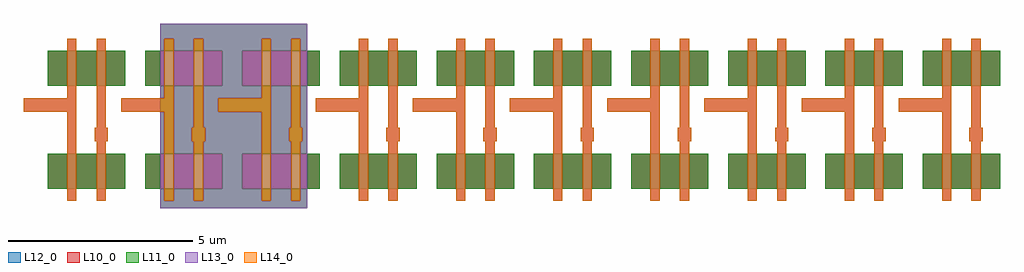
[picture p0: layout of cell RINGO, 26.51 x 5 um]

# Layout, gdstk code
import gdstk
lib = gdstk.Library(unit=1e-6, precision=1e-09)
def R(c, l, rs):  # rectangles x0, y0, x1, y1
    for r in rs: c.add(gdstk.rectangle(r[:2], r[2:], *l))
def A(c, l, x, y, w, h, nx, ny, dx, dy):  # array of equal rectangles
    R(c, l, [(x+i*dx, y+j*dy, x+i*dx+w, y+j*dy+h) for i in range(nx) for j in range(ny)])
def P(c, l, *ps):  # polygons
    for p in ps: c.add(gdstk.Polygon(p, *l))
L10_0 = (10, 0)
L11_0 = (11, 0)
L12_0 = (12, 0)
L13_0 = (13, 0)
L14_0 = (14, 0)

ringo = lib.new_cell('RINGO')
P(ringo, L10_0, [(-0.525,-0.8),(-0.525,-0.475),(-1.05,-0.475),(-1.05,0.475),(-0.525,0.475),(-0.525,-0.475),(-0.275,-0.475),(-0.275,0.475),(-0.525,0.475),(-0.525,1.62),(-1.7,1.62),(-1.7,1.98),(-0.525,1.98),(-0.525,2.325),(-1.05,2.325),(-1.05,3.275),(-0.525,3.275),(-0.525,2.325),(-0.275,2.325),(-0.275,0.475),(0.275,0.475),(0.275,-0.475),(0.525,-0.475),(0.525,0.475),(0.275,0.475),(0.275,0.82),(0.22,0.82),(0.22,1.18),(0.275,1.18),(0.275,2.325),(-0.275,2.325),(-0.275,3.275),(-0.525,3.275),(-0.525,3.6),(-0.275,3.6),(-0.275,3.275),(0.275,3.275),(0.275,2.325),(0.525,2.325),(0.525,3.275),(0.275,3.275),(0.275,3.6),(0.525,3.6),(0.525,3.275),(1.05,3.275),(1.05,2.325),(0.525,2.325),(0.525,1.18),(0.58,1.18),(0.58,0.82),(0.525,0.82),(0.525,0.475),(1.05,0.475),(1.05,-0.475),(0.525,-0.475),(0.525,-0.8),(0.275,-0.8),(0.275,-0.475),(-0.275,-0.475),(-0.275,-0.8)],
  [(2.115,-0.8),(2.115,-0.475),(1.59,-0.475),(1.59,0.475),(2.115,0.475),(2.115,-0.475),(2.365,-0.475),(2.365,0.475),(2.115,0.475),(2.115,1.62),(0.94,1.62),(0.94,1.98),(2.115,1.98),(2.115,2.325),(1.59,2.325),(1.59,3.275),(2.115,3.275),(2.115,2.325),(2.365,2.325),(2.365,0.475),(2.915,0.475),(2.915,-0.475),(3.165,-0.475),(3.165,0.475),(2.915,0.475),(2.915,0.82),(2.86,0.82),(2.86,1.18),(2.915,1.18),(2.915,2.325),(2.365,2.325),(2.365,3.275),(2.115,3.275),(2.115,3.6),(2.365,3.6),(2.365,3.275),(2.915,3.275),(2.915,2.325),(3.165,2.325),(3.165,3.275),(2.915,3.275),(2.915,3.6),(3.165,3.6),(3.165,3.275),(3.69,3.275),(3.69,2.325),(3.165,2.325),(3.165,1.18),(3.22,1.18),(3.22,0.82),(3.165,0.82),(3.165,0.475),(3.69,0.475),(3.69,-0.475),(3.165,-0.475),(3.165,-0.8),(2.915,-0.8),(2.915,-0.475),(2.365,-0.475),(2.365,-0.8)],
  [(4.755,-0.8),(4.755,-0.475),(4.23,-0.475),(4.23,0.475),(4.755,0.475),(4.755,-0.475),(5.005,-0.475),(5.005,0.475),(4.755,0.475),(4.755,1.62),(3.58,1.62),(3.58,1.98),(4.755,1.98),(4.755,2.325),(4.23,2.325),(4.23,3.275),(4.755,3.275),(4.755,2.325),(5.005,2.325),(5.005,0.475),(5.555,0.475),(5.555,-0.475),(5.805,-0.475),(5.805,0.475),(5.555,0.475),(5.555,0.82),(5.5,0.82),(5.5,1.18),(5.555,1.18),(5.555,2.325),(5.005,2.325),(5.005,3.275),(4.755,3.275),(4.755,3.6),(5.005,3.6),(5.005,3.275),(5.555,3.275),(5.555,2.325),(5.805,2.325),(5.805,3.275),(5.555,3.275),(5.555,3.6),(5.805,3.6),(5.805,3.275),(6.33,3.275),(6.33,2.325),(5.805,2.325),(5.805,1.18),(5.86,1.18),(5.86,0.82),(5.805,0.82),(5.805,0.475),(6.33,0.475),(6.33,-0.475),(5.805,-0.475),(5.805,-0.8),(5.555,-0.8),(5.555,-0.475),(5.005,-0.475),(5.005,-0.8)],
  [(7.395,-0.8),(7.395,-0.475),(6.87,-0.475),(6.87,0.475),(7.395,0.475),(7.395,-0.475),(7.645,-0.475),(7.645,0.475),(7.395,0.475),(7.395,1.62),(6.22,1.62),(6.22,1.98),(7.395,1.98),(7.395,2.325),(6.87,2.325),(6.87,3.275),(7.395,3.275),(7.395,2.325),(7.645,2.325),(7.645,0.475),(8.195,0.475),(8.195,-0.475),(8.445,-0.475),(8.445,0.475),(8.195,0.475),(8.195,0.82),(8.14,0.82),(8.14,1.18),(8.195,1.18),(8.195,2.325),(7.645,2.325),(7.645,3.275),(7.395,3.275),(7.395,3.6),(7.645,3.6),(7.645,3.275),(8.195,3.275),(8.195,2.325),(8.445,2.325),(8.445,3.275),(8.195,3.275),(8.195,3.6),(8.445,3.6),(8.445,3.275),(8.97,3.275),(8.97,2.325),(8.445,2.325),(8.445,1.18),(8.5,1.18),(8.5,0.82),(8.445,0.82),(8.445,0.475),(8.97,0.475),(8.97,-0.475),(8.445,-0.475),(8.445,-0.8),(8.195,-0.8),(8.195,-0.475),(7.645,-0.475),(7.645,-0.8)],
  [(10.035,-0.8),(10.035,-0.475),(9.51,-0.475),(9.51,0.475),(10.035,0.475),(10.035,-0.475),(10.285,-0.475),(10.285,0.475),(10.035,0.475),(10.035,1.62),(8.86,1.62),(8.86,1.98),(10.035,1.98),(10.035,2.325),(9.51,2.325),(9.51,3.275),(10.035,3.275),(10.035,2.325),(10.285,2.325),(10.285,0.475),(10.835,0.475),(10.835,-0.475),(11.085,-0.475),(11.085,0.475),(10.835,0.475),(10.835,0.82),(10.78,0.82),(10.78,1.18),(10.835,1.18),(10.835,2.325),(10.285,2.325),(10.285,3.275),(10.035,3.275),(10.035,3.6),(10.285,3.6),(10.285,3.275),(10.835,3.275),(10.835,2.325),(11.085,2.325),(11.085,3.275),(10.835,3.275),(10.835,3.6),(11.085,3.6),(11.085,3.275),(11.61,3.275),(11.61,2.325),(11.085,2.325),(11.085,1.18),(11.14,1.18),(11.14,0.82),(11.085,0.82),(11.085,0.475),(11.61,0.475),(11.61,-0.475),(11.085,-0.475),(11.085,-0.8),(10.835,-0.8),(10.835,-0.475),(10.285,-0.475),(10.285,-0.8)],
  [(12.675,-0.8),(12.675,-0.475),(12.15,-0.475),(12.15,0.475),(12.675,0.475),(12.675,-0.475),(12.925,-0.475),(12.925,0.475),(12.675,0.475),(12.675,1.62),(11.5,1.62),(11.5,1.98),(12.675,1.98),(12.675,2.325),(12.15,2.325),(12.15,3.275),(12.675,3.275),(12.675,2.325),(12.925,2.325),(12.925,0.475),(13.475,0.475),(13.475,-0.475),(13.725,-0.475),(13.725,0.475),(13.475,0.475),(13.475,0.82),(13.42,0.82),(13.42,1.18),(13.475,1.18),(13.475,2.325),(12.925,2.325),(12.925,3.275),(12.675,3.275),(12.675,3.6),(12.925,3.6),(12.925,3.275),(13.475,3.275),(13.475,2.325),(13.725,2.325),(13.725,3.275),(13.475,3.275),(13.475,3.6),(13.725,3.6),(13.725,3.275),(14.25,3.275),(14.25,2.325),(13.725,2.325),(13.725,1.18),(13.78,1.18),(13.78,0.82),(13.725,0.82),(13.725,0.475),(14.25,0.475),(14.25,-0.475),(13.725,-0.475),(13.725,-0.8),(13.475,-0.8),(13.475,-0.475),(12.925,-0.475),(12.925,-0.8)],
  [(15.315,-0.8),(15.315,-0.475),(14.79,-0.475),(14.79,0.475),(15.315,0.475),(15.315,-0.475),(15.565,-0.475),(15.565,0.475),(15.315,0.475),(15.315,1.62),(14.14,1.62),(14.14,1.98),(15.315,1.98),(15.315,2.325),(14.79,2.325),(14.79,3.275),(15.315,3.275),(15.315,2.325),(15.565,2.325),(15.565,0.475),(16.115,0.475),(16.115,-0.475),(16.365,-0.475),(16.365,0.475),(16.115,0.475),(16.115,0.82),(16.06,0.82),(16.06,1.18),(16.115,1.18),(16.115,2.325),(15.565,2.325),(15.565,3.275),(15.315,3.275),(15.315,3.6),(15.565,3.6),(15.565,3.275),(16.115,3.275),(16.115,2.325),(16.365,2.325),(16.365,3.275),(16.115,3.275),(16.115,3.6),(16.365,3.6),(16.365,3.275),(16.89,3.275),(16.89,2.325),(16.365,2.325),(16.365,1.18),(16.42,1.18),(16.42,0.82),(16.365,0.82),(16.365,0.475),(16.89,0.475),(16.89,-0.475),(16.365,-0.475),(16.365,-0.8),(16.115,-0.8),(16.115,-0.475),(15.565,-0.475),(15.565,-0.8)],
  [(17.955,-0.8),(17.955,-0.475),(17.43,-0.475),(17.43,0.475),(17.955,0.475),(17.955,-0.475),(18.205,-0.475),(18.205,0.475),(17.955,0.475),(17.955,1.62),(16.78,1.62),(16.78,1.98),(17.955,1.98),(17.955,2.325),(17.43,2.325),(17.43,3.275),(17.955,3.275),(17.955,2.325),(18.205,2.325),(18.205,0.475),(18.755,0.475),(18.755,-0.475),(19.005,-0.475),(19.005,0.475),(18.755,0.475),(18.755,0.82),(18.7,0.82),(18.7,1.18),(18.755,1.18),(18.755,2.325),(18.205,2.325),(18.205,3.275),(17.955,3.275),(17.955,3.6),(18.205,3.6),(18.205,3.275),(18.755,3.275),(18.755,2.325),(19.005,2.325),(19.005,3.275),(18.755,3.275),(18.755,3.6),(19.005,3.6),(19.005,3.275),(19.53,3.275),(19.53,2.325),(19.005,2.325),(19.005,1.18),(19.06,1.18),(19.06,0.82),(19.005,0.82),(19.005,0.475),(19.53,0.475),(19.53,-0.475),(19.005,-0.475),(19.005,-0.8),(18.755,-0.8),(18.755,-0.475),(18.205,-0.475),(18.205,-0.8)],
  [(20.595,-0.8),(20.595,-0.475),(20.07,-0.475),(20.07,0.475),(20.595,0.475),(20.595,-0.475),(20.845,-0.475),(20.845,0.475),(20.595,0.475),(20.595,1.62),(19.42,1.62),(19.42,1.98),(20.595,1.98),(20.595,2.325),(20.07,2.325),(20.07,3.275),(20.595,3.275),(20.595,2.325),(20.845,2.325),(20.845,0.475),(21.395,0.475),(21.395,-0.475),(21.645,-0.475),(21.645,0.475),(21.395,0.475),(21.395,0.82),(21.34,0.82),(21.34,1.18),(21.395,1.18),(21.395,2.325),(20.845,2.325),(20.845,3.275),(20.595,3.275),(20.595,3.6),(20.845,3.6),(20.845,3.275),(21.395,3.275),(21.395,2.325),(21.645,2.325),(21.645,3.275),(21.395,3.275),(21.395,3.6),(21.645,3.6),(21.645,3.275),(22.17,3.275),(22.17,2.325),(21.645,2.325),(21.645,1.18),(21.7,1.18),(21.7,0.82),(21.645,0.82),(21.645,0.475),(22.17,0.475),(22.17,-0.475),(21.645,-0.475),(21.645,-0.8),(21.395,-0.8),(21.395,-0.475),(20.845,-0.475),(20.845,-0.8)],
  [(23.235,-0.8),(23.235,-0.475),(22.71,-0.475),(22.71,0.475),(23.235,0.475),(23.235,-0.475),(23.485,-0.475),(23.485,0.475),(23.235,0.475),(23.235,1.62),(22.06,1.62),(22.06,1.98),(23.235,1.98),(23.235,2.325),(22.71,2.325),(22.71,3.275),(23.235,3.275),(23.235,2.325),(23.485,2.325),(23.485,0.475),(24.035,0.475),(24.035,-0.475),(24.285,-0.475),(24.285,0.475),(24.035,0.475),(24.035,0.82),(23.98,0.82),(23.98,1.18),(24.035,1.18),(24.035,2.325),(23.485,2.325),(23.485,3.275),(23.235,3.275),(23.235,3.6),(23.485,3.6),(23.485,3.275),(24.035,3.275),(24.035,2.325),(24.285,2.325),(24.285,3.275),(24.035,3.275),(24.035,3.6),(24.285,3.6),(24.285,3.275),(24.81,3.275),(24.81,2.325),(24.285,2.325),(24.285,1.18),(24.34,1.18),(24.34,0.82),(24.285,0.82),(24.285,0.475),(24.81,0.475),(24.81,-0.475),(24.285,-0.475),(24.285,-0.8),(24.035,-0.8),(24.035,-0.475),(23.485,-0.475),(23.485,-0.8)])
A(ringo, L11_0, 6.87, -0.475, 2.1, 0.95, 7, 2, 2.64, 2.8)
R(ringo, L11_0, [(-1.05,-0.475,1.05,0.475), (-1.05,2.325,1.05,3.275)])
P(ringo, L11_0, [(2,-1),(2,-0.475),(1.59,-0.475),(1.59,0.475),(2,0.475),(2,-0.475),(3.69,-0.475),(3.69,0.475),(4.23,0.475),(4.23,-0.475),(6,-0.475),(6,0.475),(2,0.475),(2,2.325),(1.59,2.325),(1.59,3.275),(2,3.275),(2,2.325),(3.69,2.325),(3.69,3.275),(4.23,3.275),(4.23,2.325),(6,2.325),(6,3.275),(2,3.275),(2,4),(6,4),(6,3.275),(6.33,3.275),(6.33,2.325),(6,2.325),(6,0.475),(6.33,0.475),(6.33,-0.475),(6,-0.475),(6,-1)])
R(ringo, L12_0, [(-1.05,-0.475,0.25,0.475), (-0.25,-0.475,1.05,0.475), (1.59,-0.475,2.89,0.475), (2.39,-0.475,3.69,0.475), (4.23,-0.475,5.53,0.475), (5.03,-0.475,6.33,0.475), (6.87,-0.475,8.17,0.475), (7.67,-0.475,8.97,0.475), (9.51,-0.475,10.81,0.475), (10.31,-0.475,11.61,0.475), (12.15,-0.475,13.45,0.475), (12.95,-0.475,14.25,0.475), (14.79,-0.475,16.09,0.475), (15.59,-0.475,16.89,0.475), (17.43,-0.475,18.73,0.475), (18.23,-0.475,19.53,0.475), (20.07,-0.475,21.37,0.475), (20.87,-0.475,22.17,0.475), (22.71,-0.475,24.01,0.475), (23.51,-0.475,24.81,0.475), (-1.05,2.325,0.25,3.275), (-0.25,2.325,1.05,3.275), (1.59,2.325,2.89,3.275), (2.39,2.325,3.69,3.275), (4.23,2.325,5.53,3.275), (5.03,2.325,6.33,3.275), (6.87,2.325,8.17,3.275), (7.67,2.325,8.97,3.275), (9.51,2.325,10.81,3.275), (10.31,2.325,11.61,3.275), (12.15,2.325,13.45,3.275), (12.95,2.325,14.25,3.275), (14.79,2.325,16.09,3.275), (15.59,2.325,16.89,3.275), (17.43,2.325,18.73,3.275), (18.23,2.325,19.53,3.275), (20.07,2.325,21.37,3.275), (20.87,2.325,22.17,3.275), (22.71,2.325,24.01,3.275), (23.51,2.325,24.81,3.275)])
P(ringo, L13_0, [(-0.525,-0.8),(-0.525,1.62),(-1.7,1.62),(-1.7,1.98),(-0.525,1.98),(-0.525,3.6),(-0.275,3.6),(-0.275,-0.8)],
  [(0.275,-0.8),(0.275,0.82),(0.22,0.82),(0.22,1.18),(0.275,1.18),(0.275,3.6),(0.525,3.6),(0.525,1.18),(0.58,1.18),(0.58,0.82),(0.525,0.82),(0.525,-0.8)],
  [(7.395,-0.8),(7.395,1.62),(6.22,1.62),(6.22,1.98),(7.395,1.98),(7.395,3.6),(7.645,3.6),(7.645,-0.8)],
  [(8.195,-0.8),(8.195,0.82),(8.14,0.82),(8.14,1.18),(8.195,1.18),(8.195,3.6),(8.445,3.6),(8.445,1.18),(8.5,1.18),(8.5,0.82),(8.445,0.82),(8.445,-0.8)],
  [(10.035,-0.8),(10.035,1.62),(8.86,1.62),(8.86,1.98),(10.035,1.98),(10.035,3.6),(10.285,3.6),(10.285,-0.8)],
  [(10.835,-0.8),(10.835,0.82),(10.78,0.82),(10.78,1.18),(10.835,1.18),(10.835,3.6),(11.085,3.6),(11.085,1.18),(11.14,1.18),(11.14,0.82),(11.085,0.82),(11.085,-0.8)],
  [(12.675,-0.8),(12.675,1.62),(11.5,1.62),(11.5,1.98),(12.675,1.98),(12.675,3.6),(12.925,3.6),(12.925,-0.8)],
  [(13.475,-0.8),(13.475,0.82),(13.42,0.82),(13.42,1.18),(13.475,1.18),(13.475,3.6),(13.725,3.6),(13.725,1.18),(13.78,1.18),(13.78,0.82),(13.725,0.82),(13.725,-0.8)],
  [(15.315,-0.8),(15.315,1.62),(14.14,1.62),(14.14,1.98),(15.315,1.98),(15.315,3.6),(15.565,3.6),(15.565,-0.8)],
  [(16.115,-0.8),(16.115,0.82),(16.06,0.82),(16.06,1.18),(16.115,1.18),(16.115,3.6),(16.365,3.6),(16.365,1.18),(16.42,1.18),(16.42,0.82),(16.365,0.82),(16.365,-0.8)],
  [(17.955,-0.8),(17.955,1.62),(16.78,1.62),(16.78,1.98),(17.955,1.98),(17.955,3.6),(18.205,3.6),(18.205,-0.8)],
  [(18.755,-0.8),(18.755,0.82),(18.7,0.82),(18.7,1.18),(18.755,1.18),(18.755,3.6),(19.005,3.6),(19.005,1.18),(19.06,1.18),(19.06,0.82),(19.005,0.82),(19.005,-0.8)],
  [(20.595,-0.8),(20.595,1.62),(19.42,1.62),(19.42,1.98),(20.595,1.98),(20.595,3.6),(20.845,3.6),(20.845,-0.8)],
  [(21.395,-0.8),(21.395,0.82),(21.34,0.82),(21.34,1.18),(21.395,1.18),(21.395,3.6),(21.645,3.6),(21.645,1.18),(21.7,1.18),(21.7,0.82),(21.645,0.82),(21.645,-0.8)],
  [(23.235,-0.8),(23.235,1.62),(22.06,1.62),(22.06,1.98),(23.235,1.98),(23.235,3.6),(23.485,3.6),(23.485,-0.8)],
  [(24.035,-0.8),(24.035,0.82),(23.98,0.82),(23.98,1.18),(24.035,1.18),(24.035,3.6),(24.285,3.6),(24.285,1.18),(24.34,1.18),(24.34,0.82),(24.285,0.82),(24.285,-0.8)],
  [(2,-1),(2,1.62),(0.94,1.62),(0.94,1.98),(2,1.98),(2,3.6),(2.115,3.6),(2.115,1.98),(2,1.98),(2,1.62),(2.115,1.62),(2.115,-0.8),(2.365,-0.8),(2.365,3.6),(2.915,3.6),(2.915,1.18),(2.86,1.18),(2.86,0.82),(2.915,0.82),(2.915,-0.8),(3.165,-0.8),(3.165,0.82),(3.22,0.82),(3.22,1.18),(3.165,1.18),(3.165,3.6),(4.755,3.6),(4.755,1.98),(3.58,1.98),(3.58,1.62),(4.755,1.62),(4.755,-0.8),(5.005,-0.8),(5.005,3.6),(5.555,3.6),(5.555,1.18),(5.5,1.18),(5.5,0.82),(5.555,0.82),(5.555,-0.8),(5.805,-0.8),(5.805,0.82),(5.86,0.82),(5.86,1.18),(5.805,1.18),(5.805,3.6),(2,3.6),(2,4),(6,4),(6,-1)])
A(ringo, L14_0, 0.22, 0.82, 0.36, 0.36, 10, 1, 2.64, 0)
A(ringo, L14_0, -1.7, 1.62, 1.3, 0.36, 10, 1, 2.64, 0)
R(ringo, L14_0, [(-0.525,-0.25,-0.275,2.25), (0.275,-0.25,0.525,2.25), (2.115,-0.25,2.365,2.25), (2.915,-0.25,3.165,2.25), (4.755,-0.25,5.005,2.25), (5.555,-0.25,5.805,2.25), (7.395,-0.25,7.645,2.25), (8.195,-0.25,8.445,2.25), (10.035,-0.25,10.285,2.25), (10.835,-0.25,11.085,2.25), (12.675,-0.25,12.925,2.25), (13.475,-0.25,13.725,2.25), (15.315,-0.25,15.565,2.25), (16.115,-0.25,16.365,2.25), (17.955,-0.25,18.205,2.25), (18.755,-0.25,19.005,2.25), (20.595,-0.25,20.845,2.25), (21.395,-0.25,21.645,2.25), (23.235,-0.25,23.485,2.25), (24.035,-0.25,24.285,2.25)])
ringo.add(gdstk.FlexPath([(-0.4,-0.8),(-0.4,0.8)], 0.25, ends="flush", simple_path=True, layer=14, datatype=0))  # L14_0
ringo.add(gdstk.FlexPath([(-0.4,2),(-0.4,3.6)], 0.25, ends="flush", simple_path=True, layer=14, datatype=0))  # L14_0
ringo.add(gdstk.FlexPath([(0.4,0.8),(0.4,-0.8)], 0.25, ends="flush", simple_path=True, layer=14, datatype=0))  # L14_0
ringo.add(gdstk.FlexPath([(0.4,3.6),(0.4,2)], 0.25, ends="flush", simple_path=True, layer=14, datatype=0))  # L14_0
ringo.add(gdstk.FlexPath([(2.24,-0.8),(2.24,0.8)], 0.25, ends="flush", simple_path=True, layer=14, datatype=0))  # L14_0
ringo.add(gdstk.FlexPath([(2.24,2),(2.24,3.6)], 0.25, ends="flush", simple_path=True, layer=14, datatype=0))  # L14_0
ringo.add(gdstk.FlexPath([(3.04,0.8),(3.04,-0.8)], 0.25, ends="flush", simple_path=True, layer=14, datatype=0))  # L14_0
ringo.add(gdstk.FlexPath([(3.04,3.6),(3.04,2)], 0.25, ends="flush", simple_path=True, layer=14, datatype=0))  # L14_0
ringo.add(gdstk.FlexPath([(4.88,-0.8),(4.88,0.8)], 0.25, ends="flush", simple_path=True, layer=14, datatype=0))  # L14_0
ringo.add(gdstk.FlexPath([(4.88,2),(4.88,3.6)], 0.25, ends="flush", simple_path=True, layer=14, datatype=0))  # L14_0
ringo.add(gdstk.FlexPath([(5.68,0.8),(5.68,-0.8)], 0.25, ends="flush", simple_path=True, layer=14, datatype=0))  # L14_0
ringo.add(gdstk.FlexPath([(5.68,3.6),(5.68,2)], 0.25, ends="flush", simple_path=True, layer=14, datatype=0))  # L14_0
ringo.add(gdstk.FlexPath([(7.52,-0.8),(7.52,0.8)], 0.25, ends="flush", simple_path=True, layer=14, datatype=0))  # L14_0
ringo.add(gdstk.FlexPath([(7.52,2),(7.52,3.6)], 0.25, ends="flush", simple_path=True, layer=14, datatype=0))  # L14_0
ringo.add(gdstk.FlexPath([(8.32,0.8),(8.32,-0.8)], 0.25, ends="flush", simple_path=True, layer=14, datatype=0))  # L14_0
ringo.add(gdstk.FlexPath([(8.32,3.6),(8.32,2)], 0.25, ends="flush", simple_path=True, layer=14, datatype=0))  # L14_0
ringo.add(gdstk.FlexPath([(10.16,-0.8),(10.16,0.8)], 0.25, ends="flush", simple_path=True, layer=14, datatype=0))  # L14_0
ringo.add(gdstk.FlexPath([(10.16,2),(10.16,3.6)], 0.25, ends="flush", simple_path=True, layer=14, datatype=0))  # L14_0
ringo.add(gdstk.FlexPath([(10.96,0.8),(10.96,-0.8)], 0.25, ends="flush", simple_path=True, layer=14, datatype=0))  # L14_0
ringo.add(gdstk.FlexPath([(10.96,3.6),(10.96,2)], 0.25, ends="flush", simple_path=True, layer=14, datatype=0))  # L14_0
ringo.add(gdstk.FlexPath([(12.8,-0.8),(12.8,0.8)], 0.25, ends="flush", simple_path=True, layer=14, datatype=0))  # L14_0
ringo.add(gdstk.FlexPath([(12.8,2),(12.8,3.6)], 0.25, ends="flush", simple_path=True, layer=14, datatype=0))  # L14_0
ringo.add(gdstk.FlexPath([(13.6,0.8),(13.6,-0.8)], 0.25, ends="flush", simple_path=True, layer=14, datatype=0))  # L14_0
ringo.add(gdstk.FlexPath([(13.6,3.6),(13.6,2)], 0.25, ends="flush", simple_path=True, layer=14, datatype=0))  # L14_0
ringo.add(gdstk.FlexPath([(15.44,-0.8),(15.44,0.8)], 0.25, ends="flush", simple_path=True, layer=14, datatype=0))  # L14_0
ringo.add(gdstk.FlexPath([(15.44,2),(15.44,3.6)], 0.25, ends="flush", simple_path=True, layer=14, datatype=0))  # L14_0
ringo.add(gdstk.FlexPath([(16.24,0.8),(16.24,-0.8)], 0.25, ends="flush", simple_path=True, layer=14, datatype=0))  # L14_0
ringo.add(gdstk.FlexPath([(16.24,3.6),(16.24,2)], 0.25, ends="flush", simple_path=True, layer=14, datatype=0))  # L14_0
ringo.add(gdstk.FlexPath([(18.08,-0.8),(18.08,0.8)], 0.25, ends="flush", simple_path=True, layer=14, datatype=0))  # L14_0
ringo.add(gdstk.FlexPath([(18.08,2),(18.08,3.6)], 0.25, ends="flush", simple_path=True, layer=14, datatype=0))  # L14_0
ringo.add(gdstk.FlexPath([(18.88,0.8),(18.88,-0.8)], 0.25, ends="flush", simple_path=True, layer=14, datatype=0))  # L14_0
ringo.add(gdstk.FlexPath([(18.88,3.6),(18.88,2)], 0.25, ends="flush", simple_path=True, layer=14, datatype=0))  # L14_0
ringo.add(gdstk.FlexPath([(20.72,-0.8),(20.72,0.8)], 0.25, ends="flush", simple_path=True, layer=14, datatype=0))  # L14_0
ringo.add(gdstk.FlexPath([(20.72,2),(20.72,3.6)], 0.25, ends="flush", simple_path=True, layer=14, datatype=0))  # L14_0
ringo.add(gdstk.FlexPath([(21.52,0.8),(21.52,-0.8)], 0.25, ends="flush", simple_path=True, layer=14, datatype=0))  # L14_0
ringo.add(gdstk.FlexPath([(21.52,3.6),(21.52,2)], 0.25, ends="flush", simple_path=True, layer=14, datatype=0))  # L14_0
ringo.add(gdstk.FlexPath([(23.36,-0.8),(23.36,0.8)], 0.25, ends="flush", simple_path=True, layer=14, datatype=0))  # L14_0
ringo.add(gdstk.FlexPath([(23.36,2),(23.36,3.6)], 0.25, ends="flush", simple_path=True, layer=14, datatype=0))  # L14_0
ringo.add(gdstk.FlexPath([(24.16,0.8),(24.16,-0.8)], 0.25, ends="flush", simple_path=True, layer=14, datatype=0))  # L14_0
ringo.add(gdstk.FlexPath([(24.16,3.6),(24.16,2)], 0.25, ends="flush", simple_path=True, layer=14, datatype=0))  # L14_0

lib.write_gds('RINGO.gds')
